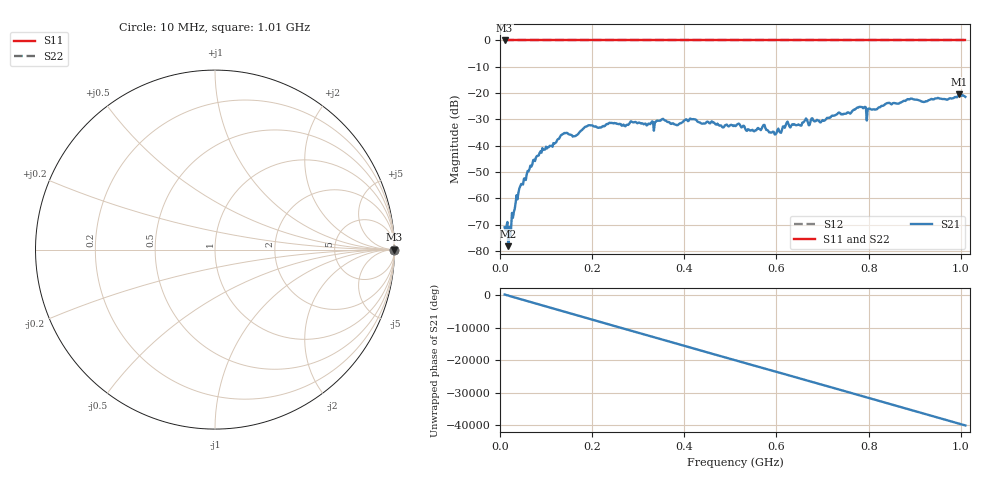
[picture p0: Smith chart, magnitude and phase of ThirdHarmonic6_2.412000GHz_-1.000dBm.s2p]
! 8/17/2025 4:03:20 AM
! C:\ANRITSUVNA\TEMP\TEMP.S2P
! CHANNEL.1
! TR.MEASUREMENT
! RAW.DATA
! RF.CORRECTION.OFF
! AVERAGING.OFF
! IF.BANDWIDTH: 5KHZ
! SWEEPTYPE:  FREQ.SWEEP(Linear)
! Reference Plane Port Info
! PORT:  PORT1  PORT2
! DISTANCE:  0  m  0  m
! TIME:  0  s  0  s
! PHASE.OFFSET:  0  deg.  0  deg.
! LOSS:  0  dB  0  dB
! REF.LOSS:  0  dB  0  dB
! REF.FREQ:  0  Hz  0  Hz
! Power Info
! POWER:  -20  dBm  -20  dBm
! EFF.POWER:  -20  dBm  -20  dBm
! SOURCE.ATTEN:  0  dB  0  dB
! TEST.ATTEN:  0  dB  0  dB
# GHZ S RI R 50.0
! FREQ.GHZ  S11RE  S11IM  S21RE  S21IM  S12RE  S12IM  S22RE  S22IM
!; PortSelection: Port_12
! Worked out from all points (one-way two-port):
!   501 points, 10 MHz to 1.01 GHz, reference 50 ohm
!   highest |S21| = -20.45 dB at 996 MHz (marker M1); lowest = -78.1 dB at 18 MHz (marker M2)
!   lowest |S11| = 0.0 dB at 10 MHz (marker M3)
!   |S11| at or under -10 dB: nowhere
!   |S22| runs from 0.0 to 0.0 dB; largest |S21 - S12| = 1.1
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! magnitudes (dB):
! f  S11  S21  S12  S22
! 10 MHz  0.0  -70.9  0.0  0.0
! 18 MHz  0.0  -78.1  0.0  0.0
! 22 MHz  0.0  -74.7  0.0  0.0
! 30 MHz  0.0  -65.2  0.0  0.0
! 44 MHz  0.0  -55.3  0.0  0.0
! 76 MHz  0.0  -45.8  0.0  0.0
! 136 MHz  0.0  -35.6  0.0  0.0
! 162 MHz  0.0  -36.4  0.0  0.0
! 178 MHz  0.0  -34.0  0.0  0.0
! 344 MHz  0.0  -30.5  0.0  0.0
! 384 MHz  0.0  -32.2  0.0  0.0
! 416 MHz  0.0  -29.9  0.0  0.0
! 510 MHz  0.0  -32.5  0.0  0.0
! 548 MHz  0.0  -33.9  0.0  0.0
! 572 MHz  0.0  -32.1  0.0  0.0
! 596 MHz  0.0  -35.7  0.0  0.0
! 622 MHz  0.0  -31.3  0.0  0.0
! 678 MHz  0.0  -29.6  0.0  0.0
! 800 MHz  0.0  -25.9  0.0  0.0
! 844 MHz  0.0  -23.7  0.0  0.0
! 996 MHz  0.0  -20.4  0.0  0.0
! 1.01 GHz  0.0  -21.4  0.0  0.0
